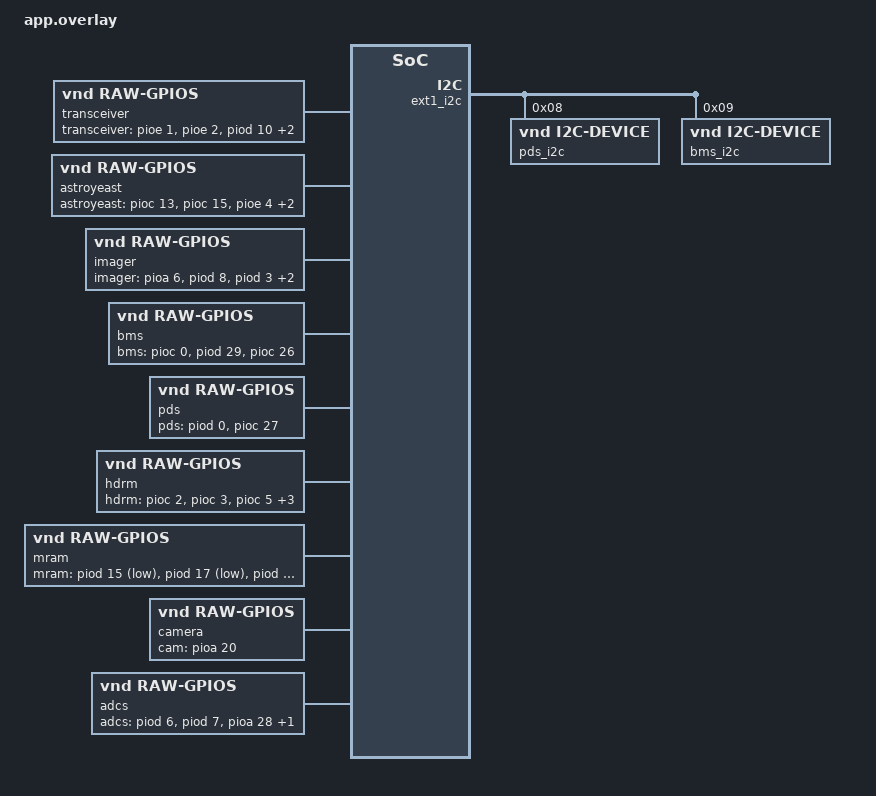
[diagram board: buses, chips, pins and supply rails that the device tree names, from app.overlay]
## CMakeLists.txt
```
cmake_minimum_required(VERSION 3.20.0)

include("../../settings.cmake")

find_package(Zephyr)
project(CDH)

list(APPEND DTS_ROOT "${CMAKE_CURRENT_LIST_DIR}")

target_sources(app
        PRIVATE FILE_SET HEADERS BASE_DIRS src/include FILES
        src/include/main.h
        src/include/pins.h
        src/include/cdh_pds_example.h
        src/include/lfp_i2c_single.h
        src/include/main.h
        src/include/threads.h

        PRIVATE
        src/cdh_pds_example.c
        src/lfp_i2c_single.c
        src/main.c
        src/pins.c
        ../../MIDDLEWARE/tinyprotocol/tinyprotocol.c
)


include("../../MIDDLEWARE/ASN1SCC/asn1scc.cmake")

asn1scc_generate_c(app ../_asn1/_systems.asn1 ../_asn1/pds.asn1 ../_asn1/bms.asn1 EXTRA_OPTS --slim -sm)

add_custom_command(
        TARGET app
        POST_BUILD
        COMMAND ${CMAKE_COMMAND} -E copy ${CMAKE_BINARY_DIR}/icd.html ${CMAKE_CURRENT_LIST_DIR}/../_asn1/icd.html
        COMMAND ${CMAKE_COMMAND} -E copy ${CMAKE_BINARY_DIR}/icd.css ${CMAKE_CURRENT_LIST_DIR}/../_asn1/icd.css
)
target_include_directories(app PRIVATE
        ${CMAKE_CURRENT_SOURCE_DIR}/../../MIDDLEWARE/shared_types
)
```

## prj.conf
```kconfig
CONFIG_ARM_MPU=y
CONFIG_BUILD_OUTPUT_COMPRESS_DEBUG_SECTIONS=y
CONFIG_BUILD_OUTPUT_HEX=y
CONFIG_CACHE_MANAGEMENT=y
CONFIG_CBPRINTF_FP_SUPPORT=y
CONFIG_CONSOLE=y
CONFIG_DEBUG_OPTIMIZATIONS=y
CONFIG_GPIO=y
CONFIG_HW_STACK_PROTECTION=y
CONFIG_I2C=y
# CONFIG_I2C_ALLOW_NO_STOP_TRANSACTIONS=y
CONFIG_LED=n
CONFIG_LFP=y
CONFIG_LOG=y
CONFIG_LOG_BACKEND_UART_OUTPUT_DICTIONARY=y
CONFIG_LOG_BUFFER_SIZE=4096
CONFIG_LOG_DBG_COLOR_BLUE=y
CONFIG_LOG_FUNC_NAME_PREFIX_ERR=y
CONFIG_LOG_FUNC_NAME_PREFIX_INF=y
CONFIG_LOG_FUNC_NAME_PREFIX_WRN=y
CONFIG_LOG_OUTPUT=y
CONFIG_LOG_PROCESS_THREAD_SLEEP_MS=10
CONFIG_MAIN_STACK_SIZE=2048
#CONFIG_NO_OPTIMIZATIONS=y #Useful for debugging
CONFIG_SERIAL=y
CONFIG_SPI=y
CONFIG_THREAD_MONITOR=y
CONFIG_THREAD_NAME=y
CONFIG_UART_CONSOLE=y
CONFIG_UART_INTERRUPT_DRIVEN=y
CONFIG_WDT_DISABLE_AT_BOOT=y
```

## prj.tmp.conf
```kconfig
CONFIG_SPI=y
CONFIG_CACHE_MANAGEMENT=y
CONFIG_BUILD_OUTPUT_HEX=y
# CONFIG_INIT_STACKS is not set
CONFIG_HW_STACK_PROTECTION=y
CONFIG_WDT_DISABLE_AT_BOOT=y
CONFIG_LOG=y
CONFIG_CONSOLE=y
CONFIG_ULOG=y
CONFIG_ULOG_LOG_BACKEND=y
CONFIG_ARM_MPU=y
# CONFIG_DEVICE_DT_METADATA is not set
CONFIG_UART_CONSOLE=y
CONFIG_I2C=y
CONFIG_I2C_SHELL=y
CONFIG_LED=y
CONFIG_UART_SHELL=y
CONFIG_SPI_SHELL=y
# CONFIG_LOG_RUNTIME_FILTERING is not set
# CONFIG_LOG_BACKEND_SHOW_COLOR is not set
CONFIG_SHELL=y
```

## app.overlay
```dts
/ {
	/* Use of the pins in code are all lowercase */
	transceiver: transceiver,pins {
		compatible = "vnd,raw-gpios";
		transceiver-gpios = <&pioe 1 GPIO_ACTIVE_HIGH>, /* OUTPUT TRANS_ON */
							<&pioe 2 GPIO_ACTIVE_HIGH>, /* OUTPUT TRANS_OFF */
							<&piod 10 GPIO_ACTIVE_HIGH>, /* INPUT TRANS_MI2C_DIS */
							<&pioc 16 GPIO_ACTIVE_HIGH>, /* INPUT TRANS_RI2C_DIS */
							<&pioc 22 GPIO_ACTIVE_HIGH>; /* INPUT TRANS_IRQ */
		transceiver-label = "Transceiver Board pins connected to CDH Board";
		status = "okay";
	};

	astroyeast: astroyeast,pins {
		compatible = "vnd,raw-gpios";
		astroyeast-gpios = <&pioc 13 GPIO_ACTIVE_HIGH>, /* OUTPUT YEAST_ON */
						   <&pioc 15 GPIO_ACTIVE_HIGH>, /* OUTPUT YEAST_OFF */
						   <&pioe 4 GPIO_ACTIVE_HIGH>, /* INPUT YEAST_MI2C_DIS */
						   <&piob 2 GPIO_ACTIVE_HIGH>, /* INPUT YEAST_RI2C_DIS */
						   <&pioc 23 GPIO_ACTIVE_HIGH>; /* INPUT YEAST_IRQ */
		astroyeast-label = "Astroyeast Board pins connected to CDH Board";
		status = "okay";
	};

	imager: imager,pins {
		compatible = "vnd,raw-gpios";
		imager-gpios = <&pioa 6 GPIO_ACTIVE_HIGH>, /* OUTPUT IMAGER_ON */
					   <&piod 8 GPIO_ACTIVE_HIGH>, /* OUTPUT IMAGER_OFF */
					   <&piod 3 GPIO_ACTIVE_HIGH>, /* INPUT IMAGER_MI2C_DIS */
					   <&pioa 29 GPIO_ACTIVE_HIGH>, /* INPUT IMAGER_RI2C_DIS */
					   <&pioc 24 GPIO_ACTIVE_HIGH>; /* INPUT IMAGER_IRQ*/
		imager-label = "Imager Board pins connected to CDH Board";
		status = "okay";
	};

	bms: bms,pins {
		compatible = "vnd,raw-gpios";
		bms-gpios = <&pioc 0 GPIO_ACTIVE_HIGH>, /* BMS_MI2C_DIS */
					<&piod 29 GPIO_ACTIVE_HIGH>, /* BMS_RI2C_DIS */
					<&pioc 26 GPIO_ACTIVE_HIGH>; /* INPUT BMS_IRQ */
		bms-label = "BMS Board pins connected to CDH Board";
		status = "okay";
	};

	pds: pds,pins {
		compatible = "vnd,raw-gpios";
		pds-gpios = <&piod 0 GPIO_ACTIVE_HIGH>, /* OUTPUT PDS_MCU_EN */
					<&pioc 27 GPIO_ACTIVE_HIGH>; /* INPUT PDS_IRQ */
		pds-label = "PDS Board pins connected to CDH Board";
		status = "okay";
	};

	hdrm: hdrm,pins {
		compatible = "vnd,raw-gpios";
		hdrm-gpios = <&pioc 2 GPIO_ACTIVE_HIGH>, /* INPUT ARM_HDRM */
					 <&pioc 3 GPIO_ACTIVE_HIGH>, /* INPUT BURN_HDRM */
					 <&pioc 5 GPIO_ACTIVE_HIGH>, /* INPUT STAT_HDRM */
					 <&pioa 21 GPIO_ACTIVE_HIGH>, /* INPUT ARM_HDRM_2 */
					 <&pioa 22 GPIO_ACTIVE_HIGH>, /* INPUT BURN_HDRM_2 */
					 <&pioa 23 GPIO_ACTIVE_HIGH>; /* INPUT BOOT_HDRM_2 */
		hdrm-label = "HDRM Board pins connected to CDH Board";
		status = "okay";
	};

	mram: mram,pins {
		compatible = "vnd,raw-gpios";
		mram-gpios = <&piod 15 GPIO_ACTIVE_LOW>, /* OUTPUT !RAM_CS */
					 <&piod 17 GPIO_ACTIVE_LOW>, /* OUTPUT !RAM_CS_2 */
					 <&piod 16 GPIO_ACTIVE_LOW>, /* OUTPUT !RAM_EN */
					 <&piod 18 GPIO_ACTIVE_LOW>, /* OUTPUT !RAM_EN_2 */
					 <&piod 13 GPIO_ACTIVE_HIGH>, /* OUTPUT RAM_WP */
					 <&piod 14 GPIO_ACTIVE_HIGH>; /* OUTPUT RAM_WP_2 */
		mram-spi0-bus = <&spi0>;
		mram-label = "MRAM pins connected to CDH Board";
		status = "okay";
	};

	camera: camera,pins {
		compatible = "vnd,raw-gpios";
		cam-gpios = <&pioa 20 GPIO_ACTIVE_HIGH>; /* OUTPUT CAM_ID */
		// YET TO BE ASSIGNED
		//			 <GPIO_ACTIVE_LOW>, /* CAM_RST_EN */
		//			 <GPIO_ACTIVE_LOW>, /* CAM_GPIO0 */
		//			 <GPIO_ACTIVE_LOW>, /* CAM_GPIO1 */
		//			 <GPIO_ACTIVE_LOW>, /* CAM_GPIO2 */
		// YET TO BE ASSIGNED
		cam-usb-bus = <&usbhs>; /* for CAM_USB_D_P/N */
		cam-label = "Camera pins connected to CDH Board";
		status = "okay";
	};

	adcs: adcs,pins {
		compatible = "vnd,raw-gpios";
		adcs-gpios = <&piod 6 GPIO_ACTIVE_HIGH>, /* OUTPUT ADCS_ON */
					 <&piod 7 GPIO_ACTIVE_HIGH>, /* OUTPUT ADCS_OFF */
					 <&pioa 28 GPIO_ACTIVE_HIGH>, /* INPUT ADCS_MI2C_DIS */
					 <&piod 9 GPIO_ACTIVE_HIGH>; /* INPUT ADCS_RI2C_DIS */
		adcs-label = "ADCS pins connected to CDH Board";
		status = "okay";
	};
};

&ext1_i2c {
	pds_i2c: pds@8 {
		compatible = "vnd,i2c-device";

		reg = < 0x08 >;
	};
	bms_i2c: bms@9 {
		compatible = "vnd,i2c-device";

		reg = < 0x09 >;
	};

};

&ext1_i2c {
	pds_i2c: pds@8 {
		compatible = "vnd,i2c-device";

		reg = < 0x08 >;
	};
	bms_i2c: bms@9 {
		compatible = "vnd,i2c-device";

		reg = < 0x09 >;
	};

};
```

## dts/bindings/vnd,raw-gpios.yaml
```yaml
# dts/bindings/vnd,raw-gpios.yaml
description: Generic group of GPIO pins with no fixed direction
compatible: "vnd,raw-gpios"

properties:
  # GPIO groups
  transceiver-gpios:
    type: phandle-array
  astroyeast-gpios:
    type: phandle-array
  imager-gpios:
    type: phandle-array
  bms-gpios:
    type: phandle-array
  pds-gpios:
    type: phandle-array
  hdrm-gpios:
    type: phandle-array
  mram-gpios:
    type: phandle-array
  cam-gpios:
    type: phandle-array
  adcs-gpios:
    type: phandle-array

  # Descriptive labels
  transceiver-label:
    type: string
  astroyeast-label:
    type: string
  imager-label:
    type: string
  bms-label:
    type: string
  pds-label:
    type: string
  hdrm-label:
    type: string
  mram-label:
    type: string
  cam-label:
    type: string
  adcs-label:
    type: string

  # Bus references
  mram-spi0-bus:
    type: phandle
  cam-usb-bus:
    type: phandle
```

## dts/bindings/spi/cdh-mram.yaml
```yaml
description: SPI MRAM device

compatible: "cdh,mram"

include: spi-device.yaml

properties:
  reg:
    required: true

  spi-max-frequency:
    required: true
```

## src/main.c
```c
#include "pins.h"
#include "cdh_comms.h"
#include "threads.h"
#include "uart/uart_transport.h"
#include "zephyr/kernel.h"
#include "zephyr/logging/log.h"

LOG_MODULE_REGISTER(cdh, LOG_LEVEL_DBG);

int main(void)
{
    int err = pins_init();
    if (err != 0) {
        LOG_ERR("Pin initialization failed");
        return err;
    }

    int ret = uart_transport_open(transmitter);
    if (ret != 0) {
        LOG_ERR("Failed to open UART2: %d", ret);
        return ret;
    }

    cdh_command_start();
    return 0;
}
```

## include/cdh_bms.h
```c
#pragma once

/**
 * Get BMS system status over i2c. Optionally print. Optionally mocked depending on MOCK_BMS. Puts the response on the telemetry queue.
 */
void request_bms_system_status(void);

/**
 * Get BMS power status over i2c. Optionally print. Optionally mocked depending on MOCK_BMS.
 * Decides whether to go into safe mode depending on battery voltage thresholds.
 * If not in safe mode, puts the response on the telemetry queue.
 */
void request_bms_power_status(void);

/**
 * Get BMS temperature status over i2c. Optionally print. Optionally mocked depending on MOCK_BMS. Puts the response on the telemetry queue.
 */
void request_bms_temperature_status(void);
```

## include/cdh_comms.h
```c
#pragma once

#pragma once

#include <asn1_lfp.h>
#include <stddef.h>
#include <stdint.h>
#include <zephyr/device.h>
#include <zephyr/kernel.h>

#if DT_NODE_HAS_STATUS(DT_ALIAS(transmitter), okay)
static const struct device *transmitter = DEVICE_DT_GET(DT_ALIAS(transmitter));
#else
#error "Unsupported board: transmitter devicetree alias is not defined"
#endif

int cdh_comms_fwd_lfp_msg(
    const asn1_lfp_decode_data_t *data,
    uint8_t *send_buf,
    size_t send_buf_size
);
```

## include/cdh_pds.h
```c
#pragma once

/**
 * Get PDS system status over i2c. Optionally print. Optionally mocked depending on MOCK_PDS. Puts the response on the telemetry queue.
 */
void request_pds_system_status(void);

/**
 * Get PDS health check over i2c. Optionally print. Optionally mocked depending on MOCK_PDS. Puts the response on the telemetry queue.
 */
void request_pds_health_check(void);

/**
 * Get PDS converter monitor over i2c. Optionally print. Optionally mocked depending on MOCK_PDS. Puts the response on the telemetry queue.
 */
void request_pds_converter_monitor(void);
```

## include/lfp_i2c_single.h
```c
#pragma once
#include <stdint.h>
#include <lfp/header.h>
#include <zephyr/kernel.h>
#include <zephyr/drivers/i2c.h>

/**
 * Receive a single LFP message over I2C.
 *  NOTE: Alex has mentioned this needs some work to be more robust
 *
 * @param p_device i2c device to read from
 * @param p_out_header received header
 * @param p_out_lfp_buf received body
 * @param out_lfp_buf_size received body buffer size
 * @param max_duration maximum time to wait for a message
 * @return number of bytes received, or negative error code on failure
 */
lfp_size_or_fail_t lfp_i2c_single_receive(
    const struct i2c_dt_spec * p_device,
    lfp_header_t * p_out_header,
    uint8_t * p_out_lfp_buf,
    int out_lfp_buf_size,
    k_timeout_t max_duration
);
```

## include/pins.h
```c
/**
 * @file pins.h
 * @description This file aims to store global variables for all pins relevant to the CDH Board
 *
 */

/* 1. Include Guards to prevent multiple definition errors */
#ifndef PINS_H
#define PINS_H

/* 2. System Library Includes */
#include <zephyr/device.h>
#include <zephyr/drivers/gpio.h>

/* 3. External / Project Includes */

/* 4. Macro Definitions / Constants */
#define TRANSCEIVER_NODE DT_NODELABEL(transceiver)
#define YEAST_NODE DT_NODELABEL(astroyeast)
#define IMAGER_NODE DT_NODELABEL(imager)
#define BMS_NODE DT_NODELABEL(bms)
#define PDS_NODE DT_NODELABEL(pds)
#define HDRM_NODE DT_NODELABEL(hdrm)
#define MRAM_NODE DT_NODELABEL(mram)
#define CAM_NODE DT_NODELABEL(camera)
#define ADCS_NODE DT_NODELABEL(adcs)

#define PIN_TABLE(X) \
	/* Transceiver */ \
	X(trans_on,        transceiver, transceiver_gpios, 0, GPIO_OUTPUT_INACTIVE) \
	X(trans_off,       transceiver, transceiver_gpios, 1, GPIO_OUTPUT_INACTIVE) \
	X(trans_mi2c_dis,  transceiver, transceiver_gpios, 2, GPIO_INPUT) \
	X(trans_ri2c_dis,  transceiver, transceiver_gpios, 3, GPIO_INPUT) \
	X(trans_irq,       transceiver, transceiver_gpios, 4, GPIO_INPUT) \
	/* Astroyeast */ \
	X(yeast_on,        astroyeast,  astroyeast_gpios,  0, GPIO_OUTPUT_INACTIVE) \
	X(yeast_off,       astroyeast,  astroyeast_gpios,  1, GPIO_OUTPUT_INACTIVE) \
	X(yeast_mi2c_dis,  astroyeast,  astroyeast_gpios,  2, GPIO_INPUT) \
	X(yeast_ri2c_dis,  astroyeast,  astroyeast_gpios,  3, GPIO_INPUT) \
	X(yeast_irq,       astroyeast,  astroyeast_gpios,  4, GPIO_INPUT) \
	/* Imager */ \
	X(imager_on,       imager,      imager_gpios,      0, GPIO_OUTPUT_INACTIVE) \
	X(imager_off,      imager,      imager_gpios,      1, GPIO_OUTPUT_INACTIVE) \
	X(imager_mi2c_dis, imager,      imager_gpios,      2, GPIO_INPUT) \
	X(imager_ri2c_dis, imager,      imager_gpios,      3, GPIO_INPUT) \
	X(imager_irq,      imager,      imager_gpios,      4, GPIO_INPUT) \
	/* BMS (first two have no INPUT/OUTPUT comment: assumed INPUT) */ \
	X(bms_mi2c_dis,    bms,         bms_gpios,         0, GPIO_INPUT) \
	X(bms_ri2c_dis,    bms,         bms_gpios,         1, GPIO_INPUT) \
	X(bms_irq,         bms,         bms_gpios,         2, GPIO_INPUT) \
	/* PDS */ \
	X(pds_mcu_en,      pds,         pds_gpios,         0, GPIO_OUTPUT_INACTIVE) \
	X(pds_irq,         pds,         pds_gpios,         1, GPIO_INPUT) \
	/* HDRM */ \
	X(arm_hdrm,        hdrm,        hdrm_gpios,        0, GPIO_INPUT) \
	X(burn_hdrm,       hdrm,        hdrm_gpios,        1, GPIO_INPUT) \
	X(stat_hdrm,       hdrm,        hdrm_gpios,        2, GPIO_INPUT) \
	X(arm_hdrm_2,      hdrm,        hdrm_gpios,        3, GPIO_INPUT) \
	X(burn_hdrm_2,     hdrm,        hdrm_gpios,        4, GPIO_INPUT) \
	X(boot_hdrm_2,     hdrm,        hdrm_gpios,        5, GPIO_INPUT) \
	/* MRAM: !CS / !EN are ACTIVE_HIGH in the overlay, so start them */ \
	/* "active" = physical high = deselected/disabled (see notes)     */ \
	X(ram_cs,          mram,        mram_gpios,        0, GPIO_OUTPUT_ACTIVE) \
	X(ram_cs_2,        mram,        mram_gpios,        1, GPIO_OUTPUT_ACTIVE) \
	X(ram_en,          mram,        mram_gpios,        2, GPIO_OUTPUT_ACTIVE) \
	X(ram_en_2,        mram,        mram_gpios,        3, GPIO_OUTPUT_ACTIVE) \
	X(ram_wp,          mram,        mram_gpios,        4, GPIO_OUTPUT_INACTIVE) \
	X(ram_wp_2,        mram,        mram_gpios,        5, GPIO_OUTPUT_INACTIVE) \
	/* Camera */ \
	X(cam_id,          camera,      cam_gpios,         0, GPIO_OUTPUT_INACTIVE) \
	/* ADCS */ \
	X(adcs_on,         adcs,        adcs_gpios,        0, GPIO_OUTPUT_INACTIVE) \
	X(adcs_off,        adcs,        adcs_gpios,        1, GPIO_OUTPUT_INACTIVE) \
	X(adcs_mi2c_dis,   adcs,        adcs_gpios,        2, GPIO_INPUT) \
	X(adcs_ri2c_dis,   adcs,        adcs_gpios,        3, GPIO_INPUT)

/* extern declarations: usable from any file as <name> */
#define DECLARE_PIN(name, lbl, prop, idx, flags) \
	extern const struct gpio_dt_spec name;
PIN_TABLE(DECLARE_PIN)
#undef DECLARE_PIN

/* Configure every pin. Returns 0, or the first error encountered. */



/* 5. Custom Data Type Definitions (Enums, Structs, Typedefs) */

/* 6. Global Variable Declarations (Use 'extern' sparingly) */

/* 7. Function Prototypes (Public Interface) */
int pins_init(void);

#endif /* PINS_H */
```

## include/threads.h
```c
#pragma once

#include <asn1/bms.h>
#include <stdbool.h>
#include <stddef.h>
#include <stdint.h>
#include <zephyr/kernel.h>

// Lower numeric values have higher priority.
#define THREAD_PRIORITY_CRITICAL 2
#define THREAD_PRIORITY_TELEMETRY 3
#define THREAD_PRIORITY_COMMAND 1

#define THREAD_STACK_SIZE 2024
#define CRITICAL_PERIOD_MS 2000
#define TELEMETRY_PERIOD_MS 5000
#define TELEMETRY_QUEUE_DEPTH 16
#define TELEMETRY_BUFFER_SIZE 256

#define BMS_ADC_MAX     4095U
#define BMS_VREF_MV     3300U

#define BMS_SENSE_GAIN_NUM 3U   // 0.75 V/V
#define BMS_SENSE_GAIN_DEN 4U
#define MV_TO_ADC(mv)  ((uint32_t)(((uint32_t)(mv)  * BMS_SENSE_GAIN_NUM * 4096U) / (BMS_SENSE_GAIN_DEN * BMS_VREF_MV)))
#define ADC_TO_MV(adc) ((uint32_t)(((uint32_t)(adc) * BMS_VREF_MV * BMS_SENSE_GAIN_DEN) / (4096U * BMS_SENSE_GAIN_NUM)))

/**
 *  telemetry message stored in the shared queue between the telemetry and critical threads.
 */
struct cdh_telemetry_message {
    size_t length;
    uint8_t data[TELEMETRY_BUFFER_SIZE];
};

/**
 * Put data in the telemetry queue for the telemetry thread to send over UART.
 *
 * @param data The data to put in the telemetry queue.
 * @param length The length of the data.
 * @returns 0 on success, or a negative error code.
 */
int cdh_telemetry_enqueue(const uint8_t *data, size_t length);

/**
 * Decide whether to go into safe mode based on the BMS power status.
 *
 * @param status The BMS power status to evaluate.
 */
void cdh_critical_evaluate_power_status(
    const BMSPowerStatusResponse *status
);

/**
 * are we in safe mode?
 *
 * @returns true if the CDH is in safe mode, false otherwise
 */
bool cdh_critical_is_safe(void);

/**
 * Gives the command thread semaphore, allowing it to start listening for commands on UART2.
 * Should be called after the UART2 device is initialized and ready to use.
 *
 */
void cdh_command_start(void);
```

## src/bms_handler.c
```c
#include "include/bms_handler.h"

#include <asn1_lfp.h>
#include <lfp_i2c_single.h>
#include <threads.h>
#include <asn1/bms.h>
#include <asn1/_systems.h>
#include <lfp/stream.h>
#include <zephyr/drivers/i2c.h>
#include <zephyr/logging/log.h>

LOG_MODULE_REGISTER(bms_handler);

#define BMS_LOGGING_INTERVAL 10
#define BMS_HEATER_INTERVAL 10

#define BMS_I2C_READ_TIMEOUT 10

static const struct i2c_dt_spec dev_bms = I2C_DT_SPEC_GET(DT_NODELABEL(bms_i2c));
K_MUTEX_DEFINE(dev_bms_lock);

static inline double bms_adc_to_float(const uint16_t val) {
    return ((double)val * 3.3) / (1 << 12);
}

static inline uint16_t bms_float_to_adc(const double val) {
    return (uint16_t)((val * (double)(1 << 12)) / 3.3);
}

static uint8_t lfp_send_buf[MAX_FROM_LIST( // NOLINT(bugprone-branch-clone)
    ASN1_LFP_SEND_BUF_SIZE(BMSPowerStatusRequest),
    ASN1_LFP_SEND_BUF_SIZE(BMSTemperatureStatusRequest),
    ASN1_LFP_SEND_BUF_SIZE(BMSSetHeaterDutyRequest)
)];
static uint8_t lfp_recv_buf[MAX_FROM_LIST( // NOLINT(bugprone-branch-clone)
    ASN1_LFP_RECV_BUF_SIZE(BMSPowerStatusResponse),
    ASN1_LFP_RECV_BUF_SIZE(BMSTemperatureStatusResponse),
    ASN1_LFP_RECV_BUF_SIZE(BMSSetHeaterDutyResponse)
)];

static void bms_logging_log_battery(const BMSBatteryPackStatus * p_pack, const int pack_id) {
    const BMSCellStatus * p_cell_a = &p_pack->cellA;
    const BMSCellStatus * p_cell_b = &p_pack->cellB;

    LOG_INF(
        "Battery %d:\n\tVoltage: %.3f | Current Draw: %.3f | Current Charge: %.3f | Overcurrent: %d\n"
        "\tCell A:\n\t\tVoltage: %.3f\n\t\tOV/UV: %d/%d\n"
        "\tCell B:\n\t\tVoltage: %.3f\n\t\tOV/UV: %d/%d",
        pack_id,
        bms_adc_to_float(p_pack->voltage), bms_adc_to_float(p_pack->currentDraw),
        bms_adc_to_float(p_pack->currentCharge),
        p_pack->overcurrent,

        bms_adc_to_float(p_cell_a->voltage),
        p_cell_a->overvoltage, p_cell_a->undervoltage,

        bms_adc_to_float(p_cell_b->voltage),
        p_cell_b->overvoltage, p_cell_b->undervoltage
    );

}

static void bms_logging_callback(BMSPowerStatusResponse * p_payload, asn1_lfp_decode_data_t * p_data) {
    ARG_UNUSED(p_data);

    bms_logging_log_battery(&p_payload->batteryPack1, 1);
    bms_logging_log_battery(&p_payload->batteryPack2, 2);
}


static void test_function(int error_code, const struct asn1_lfp_decode_data_t* p_data) {
    ARG_UNUSED(p_data);
    LOG_WRN("ASN1 parse failure: %d", error_code);
}

static void bms_logging_thread(const void *p1, const void *p2, const void *p3) {
    ARG_UNUSED(p1);
    ARG_UNUSED(p2);
    ARG_UNUSED(p3);

    while (true) {
        k_mutex_lock(&dev_bms_lock, K_FOREVER);

        {
            const uint32_t size = ASN1_LFP_SERIALIZE(cdhSystemId, bmsSystemId, BMSPowerStatusRequest, lfp_send_buf, sizeof(lfp_send_buf), {});
            if (!size) {
                LOG_WRN("Failed to serialize power status request: a:%d l:%d",
                    ASN1_LFP_ERROR_CODE.asn1, ASN1_LFP_ERROR_CODE.lfp);
                goto unlock;
            }

            LOG_HEXDUMP_INF(lfp_send_buf, size, "Sending:");

            const int ret = i2c_write_dt(&dev_bms, lfp_send_buf, size);
            if (ret != 0) {
                LOG_WRN("Failed to send power status request: %d", ret);
                goto unlock;
            }
        }

        //TODO: remove
        {
            int ret = i2c_write_dt(&dev_bms, (uint8_t[]){0xFF}, 0 );
            if (ret != 0) {
                LOG_INF("Failed to send zero request: %d", ret);
            } else {
                LOG_WRN("Zero request was successful: %d", ret);
            }
            ret = i2c_write_dt(&dev_bms, (uint8_t[]){0xFF}, 1);
            if (ret != 0) {
                LOG_INF("Failed to send extra request: %d", ret);
            } else {
                LOG_WRN("Extra request was successful: %d", ret);
            }

            uint8_t buf[1];
            int ret2 = i2c_read_dt(&dev_bms, buf, 1);
            if (ret2 != 0) {
                LOG_WRN("Failed to send extra read: %d", ret2);
            } else {
                LOG_INF("Extra read: %d", buf[0]);
            }

            ret2 = i2c_read_dt(&dev_bms, buf, 1);
            if (ret2 != 0) {
                LOG_WRN("Failed to send extra read 2: %d", ret2);
            } else {
                LOG_INF("Extra read2: %d", buf[0]);
            }
        }

        LOG_INF("Request sent!");

        k_sleep(K_SECONDS(1));

        lfp_header_t header;
        asn1_lfp_decode_data_t data = {.p_on_error_cb = test_function, .p_header = &header, .p_body = lfp_recv_buf};
        data.body_length = lfp_i2c_single_receive(
            &dev_bms,
            &header,
            lfp_recv_buf, sizeof(lfp_recv_buf),
            K_MSEC(100));
        if (data.body_length == LFP_FAIL) {
            LOG_WRN("Failed to read BMS response");
            goto unlock;
        }

        if (ASN1_LFP_HANDLE_MSG(data, bmsSystemId, BMSPowerStatusResponse, bms_logging_callback)) {
            goto unlock;
        }

        LOG_WRN("Bad message handler!");

unlock:
        k_mutex_unlock(&dev_bms_lock);

        k_sleep(K_SECONDS(BMS_LOGGING_INTERVAL));
    }
}

static void bms_heater_thread(const void *p1, const void *p2, const void *p3) {
    ARG_UNUSED(p1);
    ARG_UNUSED(p2);
    ARG_UNUSED(p3);

    while (true) {
        k_mutex_lock(&dev_bms_lock, K_FOREVER);


        // ASN1_LFP_SERIALIZE(cdhSystemId, bmsSystemId, BMSTemperatureStatusRequest, lfp_i2c_send_chr, (void*)&dev_bms, {0});



        k_mutex_unlock(&dev_bms_lock);

        k_sleep(K_SECONDS(BMS_HEATER_INTERVAL));
    }
}

// K_THREAD_DEFINE(p_bms_heater_thread, 1024, bms_heater_thread, NULL, NULL, NULL,
//         THREAD_PRIORITY_BMS_HEATER, 0, 0);
// Stagger the threads so that they don't fight over the device
K_THREAD_DEFINE(p_bms_logging_thread, 2024, bms_logging_thread, NULL, NULL, NULL,
        THREAD_PRIORITY_BMS_LOGGING, 0, 0);
```

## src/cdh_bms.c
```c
#include <asn1_lfp.h>
#include <asn1/bms.h>
#include <asn1/_systems.h>
#include <lfp/body.h>
#include <lfp/header.h>
#include <lfp/stream.h>
#include <zephyr/kernel.h>
#include <zephyr/logging/log.h>
#include <zephyr/drivers/i2c.h>

#include "lfp_i2c_single.h"

#include "cdh_bms.h"

#include <asn1/comms.h>

#include "cdh_comms.h"
#include "threads.h"

#define I2C_TIMEOUT_MS K_MSEC(1000)

LOG_MODULE_REGISTER(cdh_bms);

K_MUTEX_DEFINE(bms_lock);

static const struct i2c_dt_spec dev_bms = I2C_DT_SPEC_GET(DT_NODELABEL(bms_i2c));

static uint8_t lfp_send_buf[MAX_FROM_LIST( // NOLINT(bugprone-branch-clone)
    ASN1_LFP_SEND_BUF_SIZE(BMSPowerStatusRequest),
    ASN1_LFP_SEND_BUF_SIZE(BMSTemperatureStatusRequest),
    ASN1_LFP_SEND_BUF_SIZE(BMSSystemStatusRequest),
    ASN1_LFP_SEND_BUF_SIZE(BMSSetHeaterDutyRequest)
)];
static uint8_t lfp_recv_buf[MAX_FROM_LIST( // NOLINT(bugprone-branch-clone)
    ASN1_LFP_RECV_BUF_SIZE(BMSPowerStatusResponse),
    ASN1_LFP_RECV_BUF_SIZE(BMSTemperatureStatusResponse),
    ASN1_LFP_RECV_BUF_SIZE(BMSSystemStatusResponse),
    ASN1_LFP_RECV_BUF_SIZE(BMSSetHeaterDutyResponse)
)];

static void on_error(int error_code, const struct asn1_lfp_decode_data_t* p_data) {
    ARG_UNUSED(p_data);
    LOG_WRN("ASN1 parse failure: %d", error_code);
}

static inline double bms_adc_to_float(const uint16_t val) {
    return ((double)val * 3.3) / (1 << 12);
}

// We don't build zephyr with log level DBG by default. To enable logs pass -DCONFIG_CDH_LOG_LEVEL=4
// This feels like the easiest way to toggle debug logging without crowding the code with #ifdefs
//

static inline void bms_battery_handler(const BMSBatteryPackStatus * p_pack, const int pack_id) {
    LOG_DBG(
        "Battery %d:\n\tVoltage: %.3f | Current Draw: %.3f | Current Charge: %.3f | Overcurrent: %d\n"
        "\tCell A:\n\t\tVoltage: %.3f\n\t\tOV/UV: %d/%d\n"
        "\tCell B:\n\t\tVoltage: %.3f\n\t\tOV/UV: %d/%d",
        pack_id,
        bms_adc_to_float(p_pack->voltage), bms_adc_to_float(p_pack->currentDraw),
        bms_adc_to_float(p_pack->currentCharge),
        p_pack->overcurrent,

        bms_adc_to_float(p_pack->cellA.voltage),
        p_pack->cellA.overvoltage, p_pack->cellA.undervoltage,

        bms_adc_to_float(p_pack->cellB.voltage),
        p_pack->cellB.overvoltage, p_pack->cellB.undervoltage
    );
}

static inline void bms_systemstatus_handler(const BMSSystemStatusResponse * p_status) {
    LOG_DBG(
        "BMS System Status:\n\tVersion: %d\n\tUptime: 0x%x\n\t",
        p_status->version,
        p_status->uptime
    );

    // TODO: Handle?
}

static inline void bms_battery_callback(BMSPowerStatusResponse * p_payload, asn1_lfp_decode_data_t * p_data) {
    ARG_UNUSED(p_data);

    cdh_critical_evaluate_power_status(p_payload);
    bms_battery_handler(&p_payload->batteryPack1, 1);
    bms_battery_handler(&p_payload->batteryPack2, 2);
}

static inline void bms_systemstatus_callback(BMSSystemStatusResponse * p_payload, asn1_lfp_decode_data_t * p_data) {
    ARG_UNUSED(p_data);

    bms_systemstatus_handler(p_payload);
}

static inline void bms_temperature_handler(
    const BMSTemperatureStatusResponse *p_status
) {
    LOG_DBG(
        "BMS Temperature Status: "
        "T1=%u T2=%u T3=%u T4=%u T5=%u T6=%u T7=%u T8=%u",
        p_status->thermistors.arr[0],
        p_status->thermistors.arr[1],
        p_status->thermistors.arr[2],
        p_status->thermistors.arr[3],
        p_status->thermistors.arr[4],
        p_status->thermistors.arr[5],
        p_status->thermistors.arr[6],
        p_status->thermistors.arr[7]
    );
}

static inline void bms_temperature_callback(
    BMSTemperatureStatusResponse *p_payload,
    asn1_lfp_decode_data_t *p_data
) {
    ARG_UNUSED(p_data);

    bms_temperature_handler(p_payload);
}

static inline void request_mock_bms_system_status(void)
{
    BMSSystemStatusResponse system_status = {
        .version = 1,
        .uptime = 0xdeadbeef
    };
    bms_systemstatus_callback(&system_status, NULL);
    uint8_t encode_buf[ASN1_LFP_SEND_BUF_SIZE(BMSSystemStatusResponse)];
    const uint32_t size = ASN1_LFP_SERIALIZE(cdhSystemId, bmsSystemId, BMSSystemStatusResponse, encode_buf, sizeof(encode_buf), system_status);
    if (!size)
    {
        LOG_WRN("Failed to serialize mock BMS system status");
        return;
    }
    const int ret = cdh_telemetry_enqueue(encode_buf, size);
    if (ret != 0)
    {
        LOG_WRN("Failed to qenqueue mock BMS system status telemetry: %d", ret);
    }
}

void request_bms_system_status(void)
{
#ifdef MOCK_BMS
    request_mock_bms_system_status();
    return;
#endif

    if (k_mutex_lock(&bms_lock, K_FOREVER) != 0) {
        return;
    }

    const uint32_t size = ASN1_LFP_SERIALIZE(cdhSystemId, bmsSystemId, BMSSystemStatusRequest, lfp_send_buf, sizeof(lfp_send_buf), {});
    if (!size) {
        LOG_WRN("Failed to serialize system status request: a:%d l:%d",
            ASN1_LFP_ERROR_CODE.asn1, ASN1_LFP_ERROR_CODE.lfp);
        goto unlock;
    }

    const int ret = i2c_write_dt(&dev_bms, lfp_send_buf, size);
    if (ret != 0) {
        LOG_WRN("Failed to send system status request: %d", ret);
        goto unlock;
    }

    lfp_header_t recv_header;
    asn1_lfp_decode_data_t data = {.p_on_error_cb = on_error, .p_header = &recv_header, .p_body = lfp_recv_buf};
    data.body_length = lfp_i2c_single_receive(
        &dev_bms,
        &recv_header,
        lfp_recv_buf, sizeof(lfp_recv_buf),
        I2C_TIMEOUT_MS);
    if (data.body_length == LFP_FAIL) {
        LOG_WRN("Failed to read BMS response");
        goto unlock;
    }

    (void)ASN1_LFP_HANDLE_MSG(data, bmsSystemId, BMSSystemStatusResponse,
                              bms_systemstatus_callback);


    uint8_t encode_buf[ASN1_LFP_SEND_BUF_SIZE(BMSSystemStatusResponse)];
    int fwd_ret = cdh_comms_fwd_lfp_msg(
        &data,
        encode_buf,
        sizeof(encode_buf)
    );

    if (fwd_ret < 0) {
        LOG_WRN("Failed to forward BMS system status response: %d", fwd_ret);
        goto unlock;
    }

    const int enqueue_ret = cdh_telemetry_enqueue(encode_buf, fwd_ret);
    if (enqueue_ret != 0) {
        LOG_WRN("Failed to queue BMS system status telemetry: %d", enqueue_ret);
    }

unlock:
    k_mutex_unlock(&bms_lock);
}

static inline void request_mock_bms_temperature_status(void)
{
    BMSTemperatureStatusResponse temp_status = {
        .thermistors = {
            .arr = { 25, 26, 27, 28, 29, 30, 31, 32 }
        }
    };
    bms_temperature_callback(&temp_status, NULL);
    uint8_t encode_buf[ASN1_LFP_SEND_BUF_SIZE(BMSTemperatureStatusResponse)];
    const uint32_t size = ASN1_LFP_SERIALIZE(cdhSystemId, bmsSystemId, BMSTemperatureStatusResponse, encode_buf, sizeof(encode_buf), temp_status);
    if (!size)
    {
        LOG_WRN("Failed to serialize mock BMS temperature status");
        return;
    }
    const int ret = cdh_telemetry_enqueue(encode_buf, size);
    if (ret != 0)
    {
        LOG_WRN("Failed to enqueue mock BMS temperature status telemetry: %d", ret);
    }
}

void request_bms_temperature_status(void)
{
#ifdef MOCK_BMS
    request_mock_bms_temperature_status();
    return;
#endif

    if (k_mutex_lock(&bms_lock, K_FOREVER) != 0) {
        return;
    }

    const uint32_t size = ASN1_LFP_SERIALIZE(
        cdhSystemId, bmsSystemId, BMSTemperatureStatusRequest,
        lfp_send_buf, sizeof(lfp_send_buf), {});
    if (!size) {
        LOG_WRN("Failed to serialize temperature status request: a:%d l:%d",
            ASN1_LFP_ERROR_CODE.asn1, ASN1_LFP_ERROR_CODE.lfp);
        goto unlock;
    }

    const int ret = i2c_write_dt(&dev_bms, lfp_send_buf, size);
    if (ret != 0) {
        LOG_WRN("Failed to send temperature status request: %d", ret);
        goto unlock;
    }

    lfp_header_t header;
    asn1_lfp_decode_data_t data = {
        .p_on_error_cb = on_error,
        .p_header = &header,
        .p_body = lfp_recv_buf
    };
    data.body_length = lfp_i2c_single_receive(
        &dev_bms,
        &header,
        lfp_recv_buf, sizeof(lfp_recv_buf),
        I2C_TIMEOUT_MS);
    if (data.body_length == LFP_FAIL) {
        LOG_WRN("Failed to read BMS temperature response");
        goto unlock;
    }

    (void)ASN1_LFP_HANDLE_MSG(data, bmsSystemId,
                              BMSTemperatureStatusResponse,
                              bms_temperature_callback);

    uint8_t encode_buf[ASN1_LFP_SEND_BUF_SIZE(BMSTemperatureStatusResponse)];
    const int fwd_ret = cdh_comms_fwd_lfp_msg(
        &data,
        encode_buf,
        sizeof(encode_buf)
    );
    if (fwd_ret < 0) {
        LOG_WRN("Failed to forward BMS temperature status response: %d",
            fwd_ret);
        goto unlock;
    }

    const int enqueue_ret = cdh_telemetry_enqueue(encode_buf, fwd_ret);
    if (enqueue_ret != 0) {
        LOG_WRN("Failed to queue BMS temperature status telemetry: %d",
            enqueue_ret);
    }

unlock:
    k_mutex_unlock(&bms_lock);
}

// TODO: Configure for if we want safe mode or not. For now values hardcoded for safe thresholds
static inline void request_mock_bms_power_status(void)
{
    BMSPowerStatusResponse power_status = {
        .batteryPack1 = {
            .voltage = MV_TO_ADC(4100U),
            .currentDraw = 0x2000,
            .currentCharge = 0x3000,
            .overcurrent = 0,
            .cellA = {
                .voltage = 0x400,
                .overvoltage = 0,
                .undervoltage = 0
            },
            .cellB = {
                .voltage = 0x500,
                .overvoltage = 0,
                .undervoltage = 0
            }
        },
        .batteryPack2 = {
            .voltage = MV_TO_ADC(4100U),
            .currentDraw = 0x7000,
            .currentCharge = 0x8000,
            .overcurrent = 0,
            .cellA = {
                .voltage = 0x900,
                .overvoltage = 0,
                .undervoltage = 0
            },
            .cellB = {
                .voltage = 0xa00,
                .overvoltage = 0,
                .undervoltage = 0
            }
        }
    };

    // a little  redundant
    bms_battery_callback(&power_status, NULL);
    uint8_t encode_buf[ASN1_LFP_SEND_BUF_SIZE(BMSPowerStatusResponse)];
    const uint32_t size = ASN1_LFP_SERIALIZE(cdhSystemId, bmsSystemId, BMSPowerStatusResponse, encode_buf, sizeof(encode_buf), power_status);
    if (!size)
    {
        LOG_WRN("Failed to serialize mock BMS power status");
        return;
    }
    const int ret = cdh_telemetry_enqueue(encode_buf, size);
    if (ret != 0)
    {
        LOG_WRN("Failed to enqueue mock BMS power status telemetry: %d", ret);
    }
}

void request_bms_power_status(void) {
#ifdef MOCK_BMS
    request_mock_bms_power_status();
    return;
#endif

    if (k_mutex_lock(&bms_lock, K_FOREVER) != 0) {
        return;
    }

    const uint32_t size = ASN1_LFP_SERIALIZE(cdhSystemId, bmsSystemId, BMSPowerStatusRequest, lfp_send_buf, sizeof(lfp_send_buf), {});
    if (!size) {
        LOG_WRN("Failed to serialize power status request: a:%d l:%d",
            ASN1_LFP_ERROR_CODE.asn1, ASN1_LFP_ERROR_CODE.lfp);
        goto unlock;
    }

    const int ret = i2c_write_dt(&dev_bms, lfp_send_buf, size);
    if (ret != 0) {
        LOG_WRN("Failed to send power status request: %d", ret);
        goto unlock;
    }

    lfp_header_t header;
    asn1_lfp_decode_data_t data = {.p_on_error_cb = on_error, .p_header = &header, .p_body = lfp_recv_buf};
    data.body_length = lfp_i2c_single_receive(
        &dev_bms,
        &header,
        lfp_recv_buf, sizeof(lfp_recv_buf),
        I2C_TIMEOUT_MS);
    if (data.body_length == LFP_FAIL) {
        LOG_WRN("Failed to read BMS response");
        goto unlock;
    }

    (void)ASN1_LFP_HANDLE_MSG(data, bmsSystemId, BMSPowerStatusResponse,
                              bms_battery_callback);

    // Don't bother formatting / queueing telemetry in safe mode, we won't be using it anyway (?)
    // FIXME: Do we want to queue / log this telemetry in safe mode? It might be useful for debugging, but it also might be a waste of time / resources
    if (cdh_critical_is_safe()) {
        goto unlock;
    }

    uint8_t encode_buf[ASN1_LFP_SEND_BUF_SIZE(BMSPowerStatusResponse)];
    int fwd_ret = cdh_comms_fwd_lfp_msg(
        &data,
        encode_buf,
        sizeof(encode_buf)
    );
    if (fwd_ret < 0) {
        LOG_WRN("Failed to forward BMS power status response: %d", fwd_ret);
        goto unlock;
    }
    const int enqueue_ret = cdh_telemetry_enqueue(encode_buf, fwd_ret);
    if (enqueue_ret != 0) {
        LOG_WRN("Failed to queue BMS power status telemetry: %d", enqueue_ret);
    }

unlock:
    k_mutex_unlock(&bms_lock);
}
```

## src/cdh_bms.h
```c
#pragma once

void request_bms_system_status(void);
void request_bms_power_status(void);
```

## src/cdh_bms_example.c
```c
#include <asn1_lfp.h>
#include <asn1/bms.h>
#include <asn1/_systems.h>
#include <lfp/body.h>
#include <lfp/header.h>
#include <lfp/stream.h>
#include <zephyr/kernel.h>
#include <zephyr/logging/log.h>
#include <zephyr/drivers/i2c.h>

#include "include/lfp_i2c_single.h"

#include "include/cdh_bms_example.h"

LOG_MODULE_REGISTER(cdh_bms_example);

static const struct i2c_dt_spec dev_bms = I2C_DT_SPEC_GET(DT_NODELABEL(bms_i2c));

static uint8_t lfp_send_buf[MAX_FROM_LIST( // NOLINT(bugprone-branch-clone)
    ASN1_LFP_SEND_BUF_SIZE(BMSPowerStatusRequest),
    ASN1_LFP_SEND_BUF_SIZE(BMSTemperatureStatusRequest),
    ASN1_LFP_SEND_BUF_SIZE(BMSSetHeaterDutyRequest)
)];
static uint8_t lfp_recv_buf[MAX_FROM_LIST( // NOLINT(bugprone-branch-clone)
    ASN1_LFP_RECV_BUF_SIZE(BMSPowerStatusResponse),
    ASN1_LFP_RECV_BUF_SIZE(BMSTemperatureStatusResponse),
    ASN1_LFP_RECV_BUF_SIZE(BMSSetHeaterDutyResponse)
)];


static void on_error(int error_code, const struct asn1_lfp_decode_data_t* p_data) {
    ARG_UNUSED(p_data);
    LOG_WRN("ASN1 parse failure: %d", error_code);
}

static inline double bms_adc_to_float(const uint16_t val) {
    return ((double)val * 3.3) / (1 << 12);
}
static void bms_logging_log_battery(const BMSBatteryPackStatus * p_pack, const int pack_id) {

    LOG_INF(
        "Battery %d:\n\tVoltage: %.3f | Current Draw: %.3f | Current Charge: %.3f | Overcurrent: %d\n"
        "\tCell A:\n\t\tVoltage: %.3f\n\t\tOV/UV: %d/%d\n"
        "\tCell B:\n\t\tVoltage: %.3f\n\t\tOV/UV: %d/%d",
        pack_id,
        bms_adc_to_float(p_pack->voltage), bms_adc_to_float(p_pack->currentDraw),
        bms_adc_to_float(p_pack->currentCharge),
        p_pack->overcurrent,

        bms_adc_to_float(p_pack->cellA.voltage),
        p_pack->cellA.overvoltage, p_pack->cellA.undervoltage,

        bms_adc_to_float(p_pack->cellB.voltage),
        p_pack->cellB.overvoltage, p_pack->cellB.undervoltage
    );

}

static void bms_logging_battery_callback(BMSPowerStatusResponse * p_payload, asn1_lfp_decode_data_t * p_data) {
    ARG_UNUSED(p_data);

    bms_logging_log_battery(&p_payload->batteryPack1, 1);
    bms_logging_log_battery(&p_payload->batteryPack2, 2);
}

static void bms_logging_temperature_callback(const BMSTemperatureStatusResponse * p_payload, const asn1_lfp_decode_data_t * p_data) {
    ARG_UNUSED(p_data);

    for (unsigned i = 0; i < 8; i++) {
        const BMSTemperatureMilliCelsius temperature = p_payload->thermistors.arr[i];
        if (temperature == bmsTemperatureInvalid) {
            LOG_INF("Thermistor %u: invalid", i + 1);
        } else {
            LOG_INF("Thermistor %u: %+ld mC", i + 1, (long)temperature);
        }
    }
}

void get_bms_temperature_status(void) {
    const uint32_t size = ASN1_LFP_SERIALIZE(cdhSystemId, bmsSystemId, BMSTemperatureStatusRequest, lfp_send_buf, sizeof(lfp_send_buf), {});
    if (!size) {
        LOG_WRN("Failed to serialize temperature status request: a:%d l:%d",
            ASN1_LFP_ERROR_CODE.asn1, ASN1_LFP_ERROR_CODE.lfp);
        return;
    }

    LOG_HEXDUMP_INF(lfp_send_buf, size, "Sending:");

    const int ret = i2c_write_dt(&dev_bms, lfp_send_buf, size);
    if (ret != 0) {
        LOG_WRN("Failed to send temperature status request: %d", ret);
        return;
    }

    lfp_header_t header;
    asn1_lfp_decode_data_t data = {.p_on_error_cb = on_error, .p_header = &header, .p_body = lfp_recv_buf};
    data.body_length = lfp_i2c_single_receive(
        &dev_bms,
        &header,
        lfp_recv_buf, sizeof(lfp_recv_buf),
        K_MSEC(100));
    if (data.body_length == LFP_FAIL) {
        LOG_WRN("Failed to read BMS response");
        return;
    }

    if (ASN1_LFP_HANDLE_MSG(data, bmsSystemId, BMSTemperatureStatusResponse, bms_logging_temperature_callback)) {
        return;
    }
}

void get_bms_power_status(void) {
    const uint32_t size = ASN1_LFP_SERIALIZE(cdhSystemId, bmsSystemId, BMSPowerStatusRequest, lfp_send_buf, sizeof(lfp_send_buf), {});
    if (!size) {
        LOG_WRN("Failed to serialize power status request: a:%d l:%d",
            ASN1_LFP_ERROR_CODE.asn1, ASN1_LFP_ERROR_CODE.lfp);
        return;
    }

    LOG_HEXDUMP_INF(lfp_send_buf, size, "Sending:");

    const int ret = i2c_write_dt(&dev_bms, lfp_send_buf, size);
    if (ret != 0) {
        LOG_WRN("Failed to send power status request: %d", ret);
        return;
    }

    lfp_header_t header;
    asn1_lfp_decode_data_t data = {.p_on_error_cb = on_error, .p_header = &header, .p_body = lfp_recv_buf};
    data.body_length = lfp_i2c_single_receive(
        &dev_bms,
        &header,
        lfp_recv_buf, sizeof(lfp_recv_buf),
        K_MSEC(100));
    if (data.body_length == LFP_FAIL) {
        LOG_WRN("Failed to read BMS response");
        return;
    }

    if (ASN1_LFP_HANDLE_MSG(data, bmsSystemId, BMSPowerStatusResponse, bms_logging_battery_callback)) {
        return;
    }
}
```

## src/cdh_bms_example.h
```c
#pragma once

void get_bms_system_status(void);
void get_bms_power_status(void);
```

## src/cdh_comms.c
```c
#include "cdh_comms.h"
#include <zephyr/kernel.h>
#include <zephyr/device.h>
#include <zephyr/logging/log.h>

#include "lfp/stream.h"

LOG_MODULE_REGISTER(cdh_comms);

int cdh_comms_fwd_lfp_msg(
    const asn1_lfp_decode_data_t *data,
    uint8_t *send_buf,
    size_t send_buf_size
)
{
    return lfp_encode(
        data->p_header->initiator,
        data->p_header->target,
        data->p_header->endpoint,
        data->p_header->direction,
        data->p_body,
        data->body_length,
        send_buf,
        send_buf_size
    );
}
```
